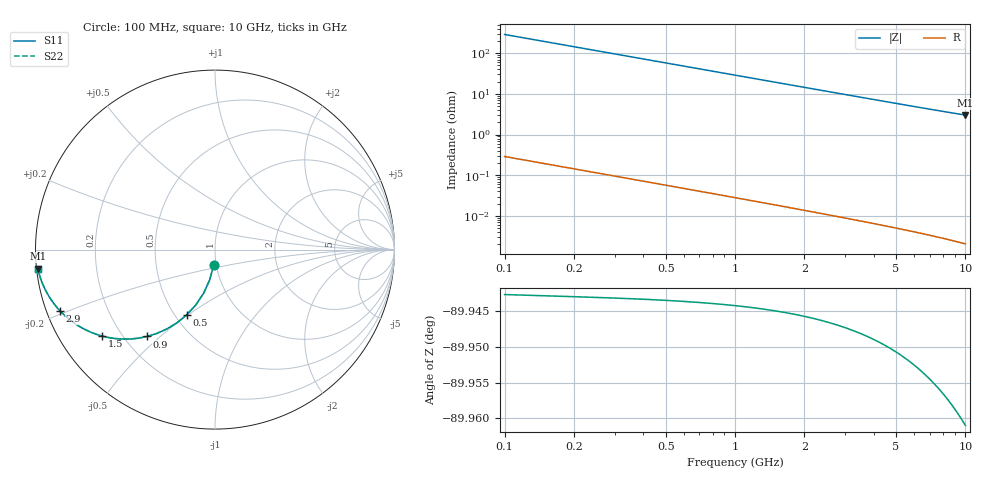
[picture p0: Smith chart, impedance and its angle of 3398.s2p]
# Hz S RI R 50.00
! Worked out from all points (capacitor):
!   100 points, 100 MHz to 10 GHz, reference 50 ohm
!   read as one part in shunt: C = 5.51 pF near 100 MHz
!   lowest |Z| = 3.01 ohm at 10 GHz (marker M1)
!   S11 on the Smith chart (normalised r, x): 100 MHz: 0.97, -0.17; 500 MHz: 0.57, -0.49; 900 MHz: 0.29, -0.45; 1.5 GHz: 0.13, -0.33; 2.9 GHz: 0.04, -0.19; 10 GHz: 0.00, -0.05
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1e8  -0.00748 -0.0858  0.9924 -0.086  0.9924 -0.086  -0.00748 -0.0858
2e8  -0.0292 -0.1679  0.9707 -0.1681  0.9707 -0.1681  -0.0292 -0.1679
3e8  -0.0633 -0.243  0.9366 -0.2433  0.9366 -0.2433  -0.0633 -0.243
4e8  -0.1072 -0.3087  0.8927 -0.3092  0.8927 -0.3092  -0.1072 -0.3087
5e8  -0.158 -0.364  0.842 -0.3645  0.842 -0.3645  -0.158 -0.364
6e8  -0.2126 -0.4083  0.7873 -0.409  0.7873 -0.409  -0.2126 -0.4083
7e8  -0.2687 -0.4424  0.7312 -0.4432  0.7312 -0.4432  -0.2687 -0.4424
9e8  -0.3777 -0.4838  0.6222 -0.4849  0.6222 -0.4849  -0.3777 -0.4838
1e9  -0.4283 -0.4938  0.5716 -0.4949  0.5716 -0.4949  -0.4283 -0.4938
1.2e9  -0.5189 -0.4984  0.481 -0.4998  0.481 -0.4998  -0.5189 -0.4984
1.5e9  -0.6275 -0.4821  0.3724 -0.4838  0.3724 -0.4838  -0.6275 -0.4821
1.8e9  -0.708 -0.4531  0.2919 -0.4552  0.2919 -0.4552  -0.708 -0.4531
2e9  -0.7495 -0.4316  0.2504 -0.4339  0.2504 -0.4339  -0.7495 -0.4316
2.3e9  -0.7982 -0.3994  0.2017 -0.4021  0.2017 -0.4021  -0.7982 -0.3994
2.6e9  -0.8348 -0.3692  0.1651 -0.3723  0.1651 -0.3723  -0.8348 -0.3692
2.9e9  -0.8628 -0.3418  0.1371 -0.3452  0.1371 -0.3452  -0.8628 -0.3418
3.4e9  -0.8963 -0.3023  0.1036 -0.3063  0.1036 -0.3063  -0.8963 -0.3023
4.2e9  -0.9295 -0.2529  0.0704 -0.2579  0.0704 -0.2579  -0.9295 -0.2529
5.1e9  -0.9511 -0.212  0.0488 -0.2181  0.0488 -0.2181  -0.9511 -0.212
6.7e9  -0.9711 -0.1628  0.0288 -0.1708  0.0288 -0.1708  -0.9711 -0.1628
8.4e9  -0.9815 -0.129  0.0184 -0.1391  0.0184 -0.1391  -0.9815 -0.129
1e10  -0.9869 -0.1067  0.0129 -0.1188  0.0129 -0.1188  -0.9869 -0.1067
